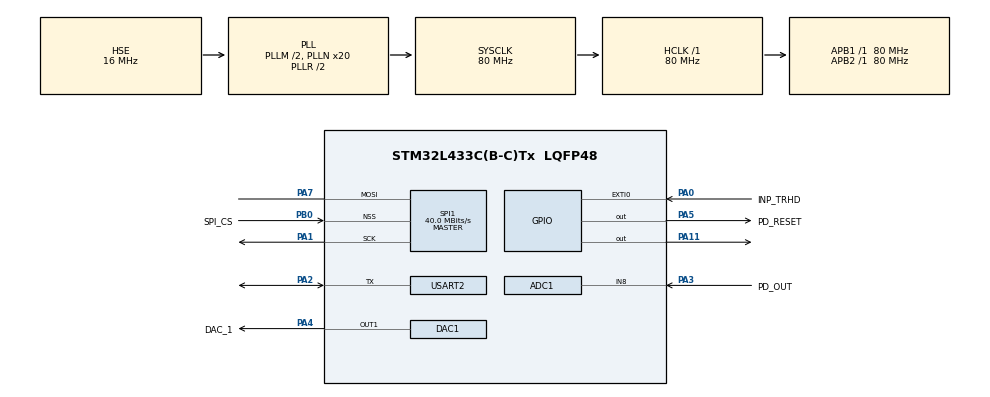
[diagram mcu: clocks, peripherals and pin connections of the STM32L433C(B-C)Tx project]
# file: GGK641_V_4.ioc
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ADC1.Channel-2\#ChannelRegularConversion=ADC_CHANNEL_8
ADC1.EnableAnalogWatchDog1=false
ADC1.NbrOfConversionFlag=1
ADC1.OffsetNumber-2\#ChannelRegularConversion=ADC_OFFSET_NONE
ADC1.Rank-2\#ChannelRegularConversion=1
ADC1.SamplingTime-2\#ChannelRegularConversion=ADC_SAMPLETIME_2CYCLES_5
ADC1.master=1
Mcu.Family=STM32L4
Mcu.Name=STM32L433C(B-C)Tx
Mcu.Package=LQFP48
NVIC.EXTI0_IRQn=true\:0\:0\:false\:false\:true\:true\:true\:true
NVIC.PriorityGroup=NVIC_PRIORITYGROUP_4
NVIC.TIM2_IRQn=true\:0\:0\:false\:false\:true\:true\:true\:true
PA0.GPIO_Label=INP_TRHD
PA0.Signal=GPXTI0
PA1.Mode=Simplex_Bidirectional_Master
PA1.Signal=SPI1_SCK
PA11.Signal=GPIO_Output
PA2.Mode=Half_duplex(single_wire_mode)
PA2.Signal=USART2_TX
PA3.GPIO_Label=PD_OUT
PA3.Signal=ADCx_IN8
PA4.GPIO_Label=DAC_1
PA4.Signal=COMP_DAC11_group
PA5.GPIO_Label=PD_RESET
PA5.Signal=GPIO_Output
PA7.Mode=Simplex_Bidirectional_Master
PA7.Signal=SPI1_MOSI
PB0.GPIO_Label=SPI_CS
PB0.Mode=NSS_Signal_Hard_Input
PB0.Signal=SPI1_NSS
PH0-OSC_IN\ (PH0).GPIO_Label=OSCI
PH0-OSC_IN\ (PH0).Mode=HSE-External-Oscillator
PH0-OSC_IN\ (PH0).Signal=RCC_OSC_IN
PH1-OSC_OUT\ (PH1).GPIO_Label=OSCO
PH1-OSC_OUT\ (PH1).Mode=HSE-External-Oscillator
PH1-OSC_OUT\ (PH1).Signal=RCC_OSC_OUT
ProjectManager.HeapSize=0x200
ProjectManager.StackSize=0x400
ProjectManager.TargetToolchain=STM32CubeIDE
RCC.ADCFreq_Value=10000000
RCC.AHBFreq_Value=80000000
RCC.APB1Freq_Value=80000000
RCC.APB1TimFreq_Value=80000000
RCC.APB2Freq_Value=80000000
RCC.APB2TimFreq_Value=80000000
RCC.CortexFreq_Value=80000000
RCC.HCLKFreq_Value=80000000
RCC.HSE_VALUE=16000000
RCC.HSI48_VALUE=48000000
RCC.HSI_VALUE=16000000
RCC.LSE_VALUE=32768
RCC.MSI_VALUE=4000000
RCC.PLLM=2
RCC.PLLN=20
RCC.PLLSAI1N=10
RCC.PLLSAI1R=RCC_PLLR_DIV8
RCC.PLLSourceVirtual=RCC_PLLSOURCE_HSE
RCC.SYSCLKFreq_VALUE=80000000
RCC.SYSCLKSource=RCC_SYSCLKSOURCE_PLLCLK
RCC.USBFreq_Value=40000000
RCC.VCOOutputFreq_Value=160000000
SH.ADCx_IN8.0=ADC1_IN8,IN8-Single-Ended
SH.COMP_DAC11_group.0=DAC1_OUT1,DAC_OUT1
SPI1.BaudRatePrescaler=SPI_BAUDRATEPRESCALER_2
SPI1.CalculateBaudRate=40.0 MBits/s
SPI1.DataSize=SPI_DATASIZE_9BIT
SPI1.Direction=SPI_DIRECTION_1LINE
SPI1.Mode=SPI_MODE_MASTER
SPI1.VirtualNSS=VM_NSSHARD
SPI1.VirtualType=VM_MASTER
TIM2.Period=12204
TIM2.Prescaler=65535
USART2.VirtualMode-Half_duplex(single_wire_mode)=VM_ASYNC
VP_TIM2_VS_ClockSourceINT.Mode=Internal
board=custom

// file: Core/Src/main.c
/* USER CODE BEGIN Header */
/**
 ******************************************************************************
 * @file           : main.c
 * @brief          : Main program body
 ******************************************************************************
 * @attention
 *
 * Copyright (c) 2024 STMicroelectronics.
 * All rights reserved.
 *
 * This software is licensed under terms that can be found in the LICENSE file
 * in the root directory of this software component.
 * If no LICENSE file comes with this software, it is provided AS-IS.
 *
 ******************************************************************************
 */
/* USER CODE END Header */
#include "main.h"

ADC_HandleTypeDef hadc1;

DAC_HandleTypeDef hdac1;

SPI_HandleTypeDef hspi1;

TIM_HandleTypeDef htim2;

UART_HandleTypeDef huart2;

void SystemClock_Config(void);
static void MX_GPIO_Init(void);
static void MX_ADC1_Init(void);
static void MX_DAC1_Init(void);
static void MX_SPI1_Init(void);
static void MX_USART2_UART_Init(void);
static void MX_TIM2_Init(void);
/* USER CODE BEGIN PFP */
uint8_t get_ADSTART_value();
void set_ADSTART_bit_1();
void set_ADSTART_bit_0();
uint32_t getValueADC();
/* USER CODE END PFP */

/* USER CODE BEGIN 0 */
void SSPI_Write(uint8_t adress, uint8_t data) {
	uint8_t data_buffer[2]; // Создаем буфер из двух байтов для хранения данных типа uint16_t

// Копируем данные типа uint16_t в буфер
	data_buffer[0] = adress; // Младший байт
	data_buffer[1] = data; // Старший байт
	HAL_GPIO_WritePin(SPI_CS_GPIO_Port, SPI_CS_Pin, GPIO_PIN_RESET);
	HAL_SPI_Transmit(&hspi1, data_buffer, sizeof(data_buffer), 1000);
	HAL_GPIO_WritePin(SPI_CS_GPIO_Port, SPI_CS_Pin, GPIO_PIN_SET);
}
uint8_t get_ADSTART_value() {
	return (ADC1->CR & ADC_CR_ADSTART) ? 1 : 0;
}
/*Установка регистра в 1, запуск преобразования*/
void set_ADSTART_bit_1() {
	ADC1->CR |= ADC_CR_ADSTART;
}
void set_ADSTART_bit_0() {
	ADC1->CR &= ~ADC_CR_ADSTART;
}
uint32_t getValueADC() {
	uint32_t result = 0;
	if (get_ADSTART_value() == 0) {
		set_ADSTART_bit_1();
		while (!(ADC1->ISR & ADC_ISR_EOC)) {
		}
		result = (uint16_t) ADC1->DR;
		set_ADSTART_bit_0();
	}
	return result;
}
void setValuePD_OUT(uint32_t *arr) {
	uint8_t index = (getValueADC() * 3300 / 4096) * 255 / 3300;
	uint16_t checkCurrentIndex = arr[index];
	++checkCurrentIndex;
	arr[index] = checkCurrentIndex;
}

void push(uint32_t *arr) {
	for (int i = 0; i < 256; ++i) {
		char result[5];
		sprintf(result, "%ld\r\n", arr[i]);
		HAL_UART_Transmit(&huart2, (uint8_t*) result, sizeof(result),
		HAL_MAX_DELAY);
	}
}
/* USER CODE END 0 */

int main(void) {

	/* MCU Configuration--------------------------------------------------------*/

	/* Reset of all peripherals, Initializes the Flash interface and the Systick. */
	HAL_Init();

	/* Configure the system clock */
	SystemClock_Config();

	/* Initialize all configured peripherals */
	MX_GPIO_Init();
	MX_ADC1_Init();
	MX_DAC1_Init();
	MX_SPI1_Init();
	MX_USART2_UART_Init();
	MX_TIM2_Init();

	/* Infinite loop */
	while (1) {

	}
}

void SystemClock_Config(void) {
	RCC_OscInitTypeDef RCC_OscInitStruct = { 0 };
	RCC_ClkInitTypeDef RCC_ClkInitStruct = { 0 };

	/** Configure the main internal regulator output voltage
	 */
	if (HAL_PWREx_ControlVoltageScaling(PWR_REGULATOR_VOLTAGE_SCALE1)
			!= HAL_OK) {
		Error_Handler();
	}

	/** Initializes the RCC Oscillators according to the specified parameters
	 * in the RCC_OscInitTypeDef structure.
	 */
	RCC_OscInitStruct.OscillatorType = RCC_OSCILLATORTYPE_HSE;
	RCC_OscInitStruct.HSEState = RCC_HSE_ON;
	RCC_OscInitStruct.PLL.PLLState = RCC_PLL_ON;
	RCC_OscInitStruct.PLL.PLLSource = RCC_PLLSOURCE_HSE;
	RCC_OscInitStruct.PLL.PLLM = 2;
	RCC_OscInitStruct.PLL.PLLN = 20;
	RCC_OscInitStruct.PLL.PLLP = RCC_PLLP_DIV7;
	RCC_OscInitStruct.PLL.PLLQ = RCC_PLLQ_DIV2;
	RCC_OscInitStruct.PLL.PLLR = RCC_PLLR_DIV2;
	if (HAL_RCC_OscConfig(&RCC_OscInitStruct) != HAL_OK) {
		Error_Handler();
	}

	/** Initializes the CPU, AHB and APB buses clocks
	 */
	RCC_ClkInitStruct.ClockType = RCC_CLOCKTYPE_HCLK | RCC_CLOCKTYPE_SYSCLK
			| RCC_CLOCKTYPE_PCLK1 | RCC_CLOCKTYPE_PCLK2;
	RCC_ClkInitStruct.SYSCLKSource = RCC_SYSCLKSOURCE_PLLCLK;
	RCC_ClkInitStruct.AHBCLKDivider = RCC_SYSCLK_DIV1;
	RCC_ClkInitStruct.APB1CLKDivider = RCC_HCLK_DIV1;
	RCC_ClkInitStruct.APB2CLKDivider = RCC_HCLK_DIV1;

	if (HAL_RCC_ClockConfig(&RCC_ClkInitStruct, FLASH_LATENCY_4) != HAL_OK) {
		Error_Handler();
	}
}

static void MX_ADC1_Init(void) {

	ADC_ChannelConfTypeDef sConfig = { 0 };

	/** Common config
	 */
	hadc1.Instance = ADC1;
	hadc1.Init.ClockPrescaler = ADC_CLOCK_ASYNC_DIV8;
	hadc1.Init.Resolution = ADC_RESOLUTION_12B;
	hadc1.Init.DataAlign = ADC_DATAALIGN_RIGHT;
	hadc1.Init.ScanConvMode = ADC_SCAN_DISABLE;
	hadc1.Init.EOCSelection = ADC_EOC_SINGLE_CONV;
	hadc1.Init.LowPowerAutoWait = DISABLE;
	hadc1.Init.ContinuousConvMode = DISABLE;
	hadc1.Init.NbrOfConversion = 1;
	hadc1.Init.DiscontinuousConvMode = DISABLE;
	hadc1.Init.ExternalTrigConv = ADC_SOFTWARE_START;
	hadc1.Init.ExternalTrigConvEdge = ADC_EXTERNALTRIGCONVEDGE_NONE;
	hadc1.Init.DMAContinuousRequests = DISABLE;
	hadc1.Init.Overrun = ADC_OVR_DATA_PRESERVED;
	hadc1.Init.OversamplingMode = DISABLE;
	if (HAL_ADC_Init(&hadc1) != HAL_OK) {
		Error_Handler();
	}

	/** Configure Regular Channel
	 */
	sConfig.Channel = ADC_CHANNEL_8;
	sConfig.Rank = ADC_REGULAR_RANK_1;
	sConfig.SamplingTime = ADC_SAMPLETIME_2CYCLES_5;
	sConfig.SingleDiff = ADC_SINGLE_ENDED;
	sConfig.OffsetNumber = ADC_OFFSET_NONE;
	sConfig.Offset = 0;
	if (HAL_ADC_ConfigChannel(&hadc1, &sConfig) != HAL_OK) {
		Error_Handler();
	}
	/* USER CODE BEGIN ADC1_Init 2 */
	HAL_ADC_Start_IT(&hadc1);
	/* USER CODE END ADC1_Init 2 */

}

static void MX_DAC1_Init(void) {

	DAC_ChannelConfTypeDef sConfig = { 0 };

	/** DAC Initialization
	 */
	hdac1.Instance = DAC1;
	if (HAL_DAC_Init(&hdac1) != HAL_OK) {
		Error_Handler();
	}

	/** DAC channel OUT1 config
	 */
	sConfig.DAC_SampleAndHold = DAC_SAMPLEANDHOLD_DISABLE;
	sConfig.DAC_Trigger = DAC_TRIGGER_NONE;
	sConfig.DAC_OutputBuffer = DAC_OUTPUTBUFFER_ENABLE;
	sConfig.DAC_ConnectOnChipPeripheral = DAC_CHIPCONNECT_DISABLE;
	sConfig.DAC_UserTrimming = DAC_TRIMMING_FACTORY;
	if (HAL_DAC_ConfigChannel(&hdac1, &sConfig, DAC_CHANNEL_1) != HAL_OK) {
		Error_Handler();
	}
	/* USER CODE BEGIN DAC1_Init 2 */

//	 Установка значения для выходного напряжения 3.3V
	uint32_t dac_value = (uint32_t) (4095 * 2 / 3.3);
	HAL_DAC_SetValue(&hdac1, DAC_CHANNEL_1, DAC_ALIGN_12B_R, dac_value);
	// Запуск преобразования ЦАП
	if (HAL_DAC_Start(&hdac1, DAC_CHANNEL_1) != HAL_OK) {
		Error_Handler();
	}
	/* USER CODE END DAC1_Init 2 */

}

static void MX_SPI1_Init(void) {

	/* SPI1 parameter configuration*/
	hspi1.Instance = SPI1;
	hspi1.Init.Mode = SPI_MODE_MASTER;
	hspi1.Init.Direction = SPI_DIRECTION_1LINE;
	hspi1.Init.DataSize = SPI_DATASIZE_8BIT;
	hspi1.Init.CLKPolarity = SPI_POLARITY_LOW;
	hspi1.Init.CLKPhase = SPI_PHASE_1EDGE;
	hspi1.Init.NSS = SPI_NSS_HARD_INPUT;
	hspi1.Init.BaudRatePrescaler = SPI_BAUDRATEPRESCALER_2;
	hspi1.Init.FirstBit = SPI_FIRSTBIT_MSB;
	hspi1.Init.TIMode = SPI_TIMODE_DISABLE;
	hspi1.Init.CRCCalculation = SPI_CRCCALCULATION_DISABLE;
	hspi1.Init.CRCPolynomial = 7;
	hspi1.Init.CRCLength = SPI_CRC_LENGTH_DATASIZE;
	hspi1.Init.NSSPMode = SPI_NSS_PULSE_ENABLE;
	if (HAL_SPI_Init(&hspi1) != HAL_OK) {
		Error_Handler();
	}
	/* USER CODE BEGIN SPI1_Init 2 */
	SSPI_Write(0x00, 0x10);
	HAL_NVIC_EnableIRQ(EXTI0_IRQn);
	/* USER CODE END SPI1_Init 2 */

}

static void MX_TIM2_Init(void) {

	TIM_ClockConfigTypeDef sClockSourceConfig = { 0 };
	TIM_MasterConfigTypeDef sMasterConfig = { 0 };

	htim2.Instance = TIM2;
	htim2.Init.Prescaler = 65535;
	htim2.Init.CounterMode = TIM_COUNTERMODE_UP;
	htim2.Init.Period = 12204;
	htim2.Init.ClockDivision = TIM_CLOCKDIVISION_DIV1;
	htim2.Init.AutoReloadPreload = TIM_AUTORELOAD_PRELOAD_DISABLE;
	if (HAL_TIM_Base_Init(&htim2) != HAL_OK) {
		Error_Handler();
	}
	sClockSourceConfig.ClockSource = TIM_CLOCKSOURCE_INTERNAL;
	if (HAL_TIM_ConfigClockSource(&htim2, &sClockSourceConfig) != HAL_OK) {
		Error_Handler();
	}
	sMasterConfig.MasterOutputTrigger = TIM_TRGO_RESET;
	sMasterConfig.MasterSlaveMode = TIM_MASTERSLAVEMODE_DISABLE;
	if (HAL_TIMEx_MasterConfigSynchronization(&htim2, &sMasterConfig)
			!= HAL_OK) {
		Error_Handler();
	}
	/* USER CODE BEGIN TIM2_Init 2 */

	HAL_TIM_Base_Start_IT(&htim2);

	HAL_NVIC_SetPriority(TIM2_IRQn, 0, 0);
	HAL_NVIC_EnableIRQ(TIM2_IRQn);
	/* USER CODE END TIM2_Init 2 */

}

static void MX_USART2_UART_Init(void) {

	huart2.Instance = USART2;
	huart2.Init.BaudRate = 115200;
	huart2.Init.WordLength = UART_WORDLENGTH_8B;
	huart2.Init.StopBits = UART_STOPBITS_1;
	huart2.Init.Parity = UART_PARITY_NONE;
	huart2.Init.Mode = UART_MODE_TX_RX;
	huart2.Init.HwFlowCtl = UART_HWCONTROL_NONE;
	huart2.Init.OverSampling = UART_OVERSAMPLING_16;
	huart2.Init.OneBitSampling = UART_ONE_BIT_SAMPLE_DISABLE;
	huart2.AdvancedInit.AdvFeatureInit = UART_ADVFEATURE_NO_INIT;
	if (HAL_HalfDuplex_Init(&huart2) != HAL_OK) {
		Error_Handler();
	}

}

static void MX_GPIO_Init(void) {
	GPIO_InitTypeDef GPIO_InitStruct = { 0 };

	/* GPIO Ports Clock Enable */
	__HAL_RCC_GPIOH_CLK_ENABLE();
	__HAL_RCC_GPIOA_CLK_ENABLE();
	__HAL_RCC_GPIOB_CLK_ENABLE();

	/*Configure GPIO pin Output Level */
	HAL_GPIO_WritePin(GPIOA, PD_RESET_Pin | GPIO_PIN_11, GPIO_PIN_RESET);

	/*Configure GPIO pin : INP_TRHD_Pin */
	GPIO_InitStruct.Pin = INP_TRHD_Pin;
	GPIO_InitStruct.Mode = GPIO_MODE_IT_RISING;
	GPIO_InitStruct.Pull = GPIO_NOPULL;
	HAL_GPIO_Init(INP_TRHD_GPIO_Port, &GPIO_InitStruct);

	/*Configure GPIO pins : PD_RESET_Pin PA11 */
	GPIO_InitStruct.Pin = PD_RESET_Pin | GPIO_PIN_11;
	GPIO_InitStruct.Mode = GPIO_MODE_OUTPUT_PP;
	GPIO_InitStruct.Pull = GPIO_NOPULL;
	GPIO_InitStruct.Speed = GPIO_SPEED_FREQ_LOW;
	HAL_GPIO_Init(GPIOA, &GPIO_InitStruct);

	/* EXTI interrupt init*/

	/* USER CODE BEGIN MX_GPIO_Init_2 */
	HAL_NVIC_SetPriority(EXTI0_IRQn, 1, 0);
	/* USER CODE END MX_GPIO_Init_2 */
}

void Error_Handler(void) {
	__disable_irq();
	while (1) {
	}
}
